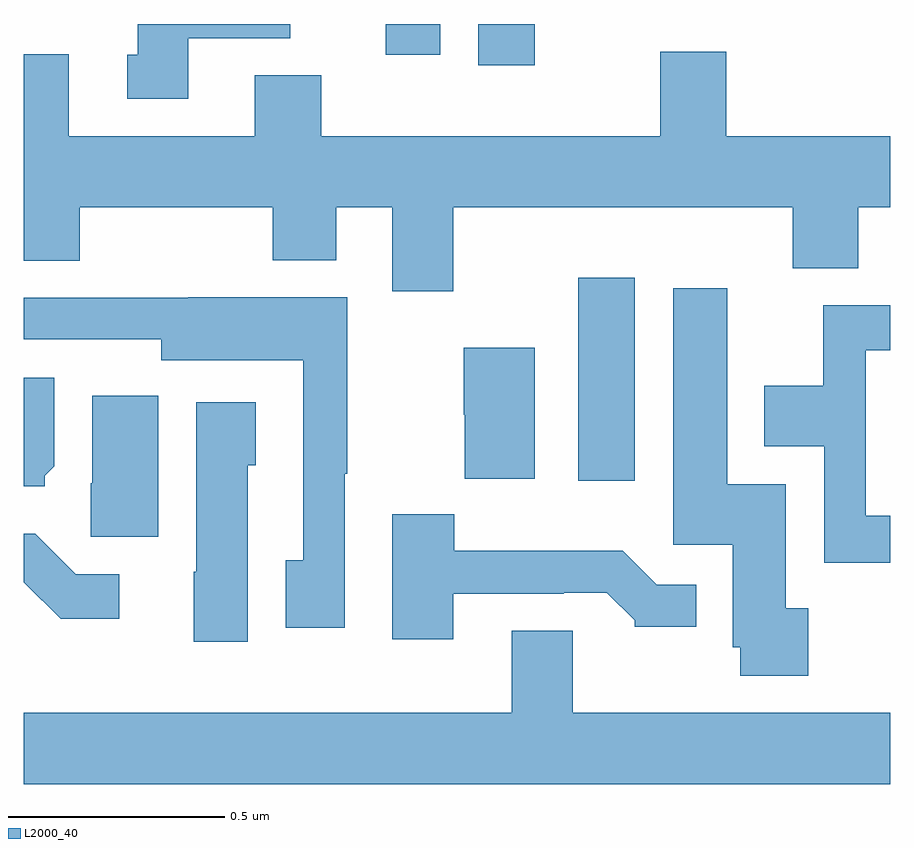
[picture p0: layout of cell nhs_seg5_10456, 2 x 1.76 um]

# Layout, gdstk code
import gdstk
lib = gdstk.Library(unit=1e-6, precision=1e-09)
def R(c, l, rs):  # rectangles x0, y0, x1, y1
    for r in rs: c.add(gdstk.rectangle(r[:2], r[2:], *l))
def P(c, l, *ps):  # polygons
    for p in ps: c.add(gdstk.Polygon(p, *l))
L2000_40 = (2000, 40)

nhs_seg5_10456 = lib.new_cell('nhs_seg5_10456')
R(nhs_seg5_10456, L2000_40, [(247.28,906.744,247.411,907.213), (247.049,907.704,247.18,907.799), (246.836,907.728,246.961,907.799)])
P(nhs_seg5_10456, L2000_40, [(246.379,907.766),(246.615,907.766),(246.615,907.799),(246.263,907.799),(246.263,907.728),(246.239,907.728),(246.239,907.626),(246.379,907.626)],
  [(246.991,907.376),(247.775,907.376),(247.775,907.235),(247.927,907.235),(247.927,907.376),(248,907.376),(248,907.54),(247.622,907.54),(247.622,907.735),(247.469,907.735),(247.469,907.54),(246.686,907.54),(246.686,907.681),(246.533,907.681),(246.533,907.54),(246.103,907.54),(246.103,907.729),(246,907.729),(246,907.252),(246.129,907.252),(246.129,907.376),(246.574,907.376),(246.574,907.253),(246.721,907.253),(246.721,907.376),(246.851,907.376),(246.851,907.182),(246.991,907.182)],
  [(247.811,906.45),(247.759,906.45),(247.759,906.736),(247.624,906.736),(247.624,907.189),(247.499,907.189),(247.499,906.597),(247.637,906.597),(247.637,906.36),(247.654,906.36),(247.654,906.294),(247.811,906.294)],
  [(246.741,906.76),(246.746,906.76),(246.746,907.168),(246.379,907.168),(246.379,907.167),(246,907.167),(246,907.071),(246.317,907.071),(246.317,907.022),(246.645,907.022),(246.645,906.561),(246.605,906.561),(246.605,906.405),(246.741,906.405)],
  [(248,906.663),(247.944,906.663),(247.944,907.046),(248,907.046),(248,907.15),(247.846,907.15),(247.846,906.964),(247.709,906.964),(247.709,906.824),(247.848,906.824),(247.848,906.555),(248,906.555)],
  [(247.18,907.051),(247.016,907.051),(247.016,906.897),(247.018,906.897),(247.018,906.749),(247.18,906.749)],
  [(246.048,906.756),(246.07,906.778),(246.07,906.982),(246,906.982),(246,906.731),(246.048,906.731)],
  [(246.31,906.941),(246.158,906.941),(246.158,906.738),(246.154,906.738),(246.154,906.615),(246.31,906.615)],
  [(246.517,906.78),(246.535,906.78),(246.535,906.925),(246.398,906.925),(246.398,906.534),(246.392,906.534),(246.392,906.372),(246.517,906.372)],
  [(246.991,906.483),(247.247,906.483),(247.247,906.486),(247.346,906.486),(247.41,906.422),(247.41,906.407),(247.552,906.407),(247.552,906.504),(247.461,906.504),(247.383,906.583),(246.994,906.583),(246.994,906.667),(246.851,906.667),(246.851,906.378),(246.991,906.378)],
  [(246.22,906.528),(246.12,906.528),(246.026,906.622),(246,906.622),(246,906.51),(246.085,906.426),(246.22,906.426)],
  [(248,906.208),(247.267,906.208),(247.267,906.398),(247.127,906.398),(247.127,906.208),(246,906.208),(246,906.044),(248,906.044)])

lib.write_gds('nhs_seg5_10456.gds')
